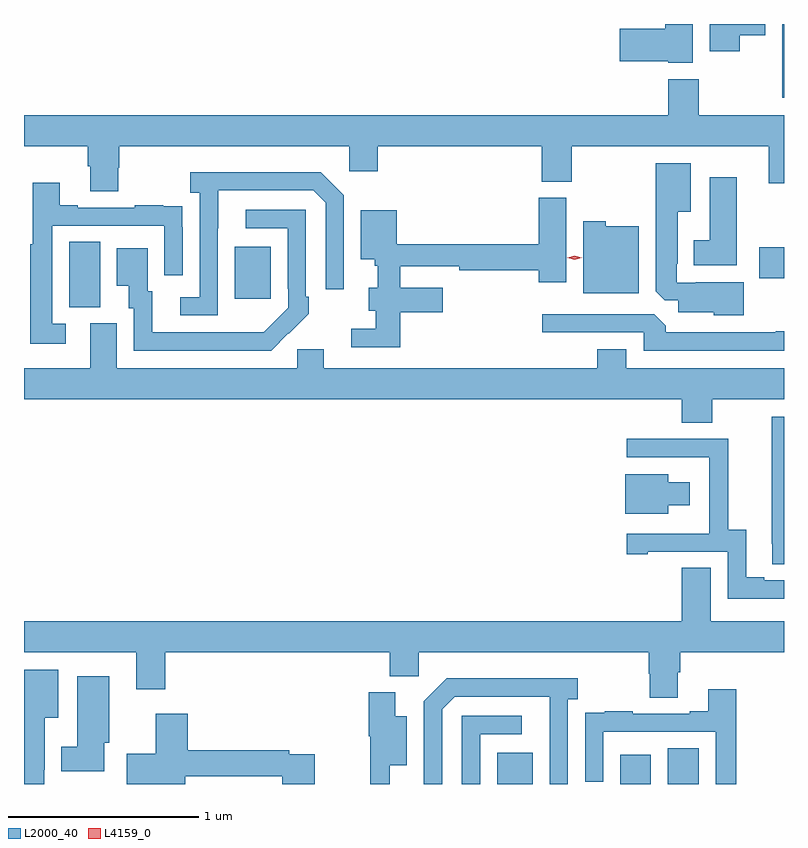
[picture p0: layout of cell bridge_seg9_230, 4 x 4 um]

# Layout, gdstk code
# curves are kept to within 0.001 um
import gdstk
lib = gdstk.Library(unit=1e-6, precision=1e-09)
def R(c, l, rs):  # rectangles x0, y0, x1, y1
    for r in rs: c.add(gdstk.rectangle(r[:2], r[2:], *l))
def P(c, l, *ps):  # polygons
    for p in ps: c.add(gdstk.Polygon(p, *l))
L2000_40 = (2000, 40)
L4159_0 = (4159, 0)

bridge_seg9_230 = lib.new_cell('bridge_seg9_230')
R(bridge_seg9_230, L2000_40, [(221.963,1203.719,222.151,1203.883), (222.611,1203.719,222.772,1203.874), (222.86,1203.719,223.024,1203.908), (219.71,1206.229,219.874,1206.572), (220.583,1206.273,220.771,1206.547), (223.344,1206.38,223.473,1206.543), (223.463,1207.331,223.473,1207.719)])
P(bridge_seg9_230, L2000_40, [(222.994,1207.719),(222.848,1207.719),(222.848,1207.694),(222.609,1207.694),(222.609,1207.523),(222.864,1207.523),(222.864,1207.514),(222.994,1207.514)],
  [(223.24,1207.661),(223.375,1207.661),(223.375,1207.719),(223.082,1207.719),(223.082,1207.575),(223.24,1207.575)],
  [(219.969,1206.963),(219.974,1206.963),(219.974,1207.076),(221.184,1207.076),(221.184,1206.945),(221.336,1206.945),(221.336,1207.076),(222.197,1207.076),(222.197,1206.889),(222.357,1206.889),(222.357,1207.076),(223.394,1207.076),(223.394,1206.882),(223.473,1206.882),(223.473,1207.24),(223.023,1207.24),(223.023,1207.429),(222.863,1207.429),(222.863,1207.24),(219.473,1207.24),(219.473,1207.076),(219.809,1207.076),(219.809,1206.97),(219.821,1206.97),(219.821,1206.838),(219.969,1206.838)],
  [(223.261,1206.361),(223.009,1206.361),(223.009,1206.357),(222.909,1206.357),(222.909,1206.457),(222.913,1206.457),(222.913,1206.731),(222.982,1206.731),(222.982,1206.985),(222.797,1206.985),(222.797,1206.313),(222.846,1206.264),(222.917,1206.264),(222.917,1206.203),(223.104,1206.203),(223.104,1206.185),(223.261,1206.185)],
  [(220.494,1206.643),(220.495,1206.843),(220.995,1206.843),(221.061,1206.777),(221.061,1206.324),(221.157,1206.324),(221.157,1206.819),(221.036,1206.94),(220.347,1206.94),(220.347,1206.83),(220.398,1206.83),(220.398,1206.282),(220.296,1206.282),(220.296,1206.186),(220.494,1206.186)],
  [(223.225,1206.913),(223.082,1206.913),(223.082,1206.58),(222.998,1206.58),(222.998,1206.449),(223.225,1206.449)],
  [(219.694,1206.141),(219.621,1206.141),(219.621,1206.657),(220.212,1206.657),(220.212,1206.396),(220.308,1206.396),(220.308,1206.65),(220.307,1206.65),(220.307,1206.759),(220.205,1206.759),(220.205,1206.766),(220.057,1206.766),(220.057,1206.753),(219.757,1206.753),(219.757,1206.766),(219.661,1206.766),(219.661,1206.883),(219.52,1206.883),(219.52,1206.56),(219.505,1206.56),(219.505,1206.036),(219.694,1206.036)],
  [(221.453,1206.202),(221.677,1206.202),(221.677,1206.331),(221.453,1206.331),(221.453,1206.444),(221.764,1206.444),(221.764,1206.424),(222.182,1206.424),(222.182,1206.36),(222.328,1206.36),(222.328,1206.804),(222.182,1206.804),(222.182,1206.56),(221.434,1206.56),(221.434,1206.739),(221.246,1206.739),(221.246,1206.482),(221.318,1206.482),(221.318,1206.447),(221.336,1206.447),(221.336,1206.331),(221.288,1206.331),(221.288,1206.209),(221.325,1206.209),(221.325,1206.114),(221.196,1206.114),(221.196,1206.018),(221.453,1206.018)],
  [(220.865,1206.091),(220.866,1206.09),(220.971,1206.195),(220.971,1206.283),(220.956,1206.283),(220.956,1206.741),(220.641,1206.741),(220.641,1206.645),(220.86,1206.645),(220.86,1206.325),(220.863,1206.325),(220.863,1206.225),(220.735,1206.097),(220.147,1206.096),(220.147,1206.312),(220.123,1206.312),(220.123,1206.538),(219.962,1206.538),(219.962,1206.341),(220.025,1206.341),(220.025,1206.222),(220.05,1206.222),(220.05,1206),(220.774,1206)],
  [(222.709,1206.655),(222.534,1206.655),(222.534,1206.682),(222.416,1206.682),(222.416,1206.302),(222.709,1206.302)],
  [(223.473,1206.101),(223.43,1206.101),(223.43,1206.096),(222.851,1206.096),(222.851,1206.13),(222.789,1206.192),(222.201,1206.192),(222.201,1206.096),(222.735,1206.096),(222.735,1206),(223.473,1206)],
  [(223.095,1205.744),(223.473,1205.744),(223.473,1205.908),(222.643,1205.908),(222.643,1206.007),(222.491,1206.007),(222.491,1205.908),(221.05,1205.908),(221.05,1206.006),(220.911,1206.006),(220.911,1205.908),(219.961,1205.908),(219.961,1206.144),(219.821,1206.144),(219.821,1205.908),(219.473,1205.908),(219.473,1205.744),(222.935,1205.744),(222.935,1205.62),(223.095,1205.62)],
  [(223.473,1205.652),(223.409,1205.652),(223.409,1204.984),(223.41,1204.984),(223.41,1204.876),(223.473,1204.876)],
  [(223.473,1204.791),(223.369,1204.791),(223.369,1204.806),(223.273,1204.806),(223.273,1205.057),(223.179,1205.057),(223.179,1205.535),(222.645,1205.535),(222.645,1205.439),(223.079,1205.439),(223.079,1205.438),(223.08,1205.438),(223.08,1205.038),(223.079,1205.038),(223.079,1205.037),(222.645,1205.037),(222.645,1204.929),(222.757,1204.929),(222.757,1204.941),(223.176,1204.941),(223.176,1204.695),(223.473,1204.695)],
  [(222.865,1205.186),(222.976,1205.186),(222.976,1205.308),(222.865,1205.308),(222.865,1205.35),(222.638,1205.35),(222.638,1205.141),(222.865,1205.141)],
  [(222.913,1204.306),(222.926,1204.306),(222.926,1204.412),(223.473,1204.412),(223.473,1204.576),(223.087,1204.576),(223.087,1204.856),(222.935,1204.856),(222.935,1204.576),(219.473,1204.576),(219.473,1204.412),(220.064,1204.412),(220.064,1204.218),(220.217,1204.218),(220.217,1204.412),(221.399,1204.412),(221.399,1204.286),(221.55,1204.286),(221.55,1204.412),(222.761,1204.412),(222.761,1204.299),(222.766,1204.299),(222.766,1204.174),(222.913,1204.174)],
  [(219.579,1203.793),(219.583,1203.793),(219.583,1204.067),(219.652,1204.067),(219.652,1204.321),(219.473,1204.321),(219.473,1203.719),(219.579,1203.719)],
  [(219.895,1203.936),(219.922,1203.936),(219.922,1204.285),(219.752,1204.285),(219.752,1203.916),(219.668,1203.916),(219.668,1203.785),(219.895,1203.785)],
  [(221.673,1204.113),(221.739,1204.179),(222.239,1204.179),(222.24,1203.719),(222.336,1203.719),(222.336,1204.166),(222.388,1204.166),(222.388,1204.276),(221.698,1204.276),(221.577,1204.155),(221.577,1203.719),(221.673,1203.719)],
  [(223.222,1204.219),(223.073,1204.219),(223.073,1204.102),(222.977,1204.102),(222.977,1204.089),(222.677,1204.089),(222.677,1204.102),(222.529,1204.102),(222.529,1204.095),(222.427,1204.095),(222.427,1203.986),(222.426,1203.986),(222.426,1203.732),(222.522,1203.732),(222.522,1203.993),(223.113,1203.993),(223.113,1203.719),(223.222,1203.719)],
  [(221.399,1203.818),(221.488,1203.818),(221.488,1204.075),(221.428,1204.075),(221.428,1204.201),(221.288,1204.201),(221.288,1203.971),(221.296,1203.971),(221.296,1203.719),(221.399,1203.719)],
  [(220.321,1203.76),(220.832,1203.76),(220.832,1203.719),(221.002,1203.719),(221.002,1203.876),(220.868,1203.876),(220.868,1203.896),(220.334,1203.896),(220.334,1204.09),(220.166,1204.09),(220.166,1203.879),(220.014,1203.879),(220.014,1203.719),(220.321,1203.719)],
  [(221.874,1203.981),(222.094,1203.981),(222.094,1204.077),(221.778,1204.077),(221.778,1203.719),(221.874,1203.719)])
P(bridge_seg9_230, L4159_0, [(222.371,1206.478),(222.333,1206.488),(222.333,1206.488),(222.333,1206.488),(222.371,1206.498),(222.409,1206.488),(222.409,1206.488),(222.409,1206.488)])

lib.write_gds('bridge_seg9_230.gds')
